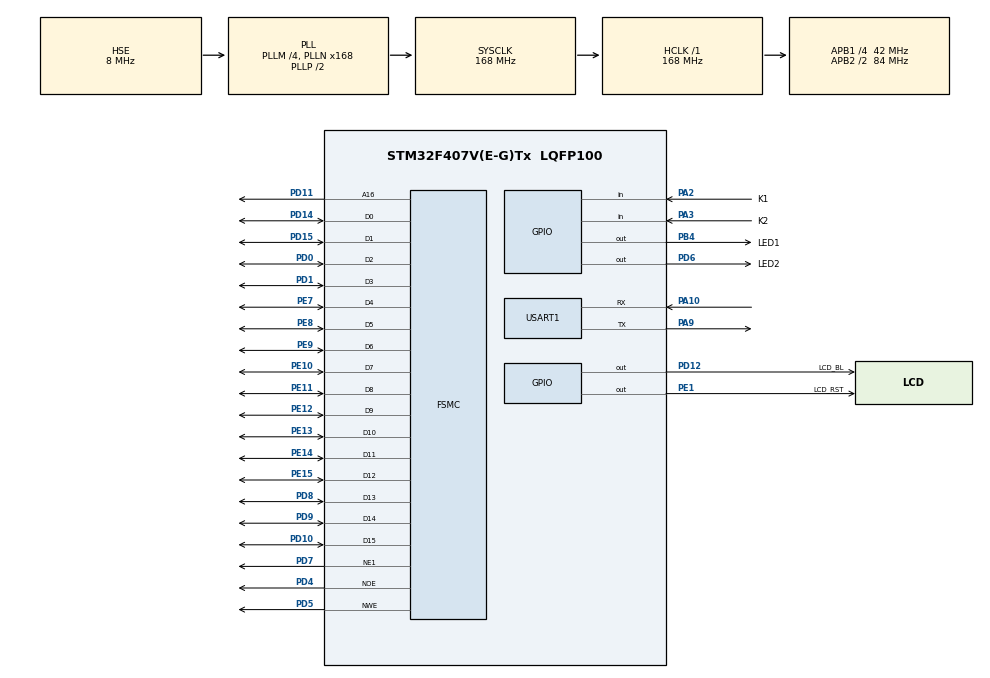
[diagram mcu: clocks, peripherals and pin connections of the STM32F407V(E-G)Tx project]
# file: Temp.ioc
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Mcu.Family=STM32F4
Mcu.Name=STM32F407V(E-G)Tx
Mcu.Package=LQFP100
NVIC.PriorityGroup=NVIC_PRIORITYGROUP_4
NVIC.TIM2_IRQn=true\:0\:0\:false\:false\:true\:true\:true\:true
NVIC.USART1_IRQn=true\:0\:0\:false\:false\:true\:true\:true\:true
PA10.Mode=Asynchronous
PA10.Signal=USART1_RX
PA13.Mode=Serial_Wire
PA13.Signal=SYS_JTMS-SWDIO
PA14.Mode=Serial_Wire
PA14.Signal=SYS_JTCK-SWCLK
PA2.GPIO_Label=K1
PA2.GPIO_Mode=GPIO_MODE_INPUT
PA2.Signal=GPIO_Input
PA3.GPIO_Label=K2
PA3.Signal=GPIO_Input
PA9.Mode=Asynchronous
PA9.Signal=USART1_TX
PB4.GPIO_Label=LED1
PB4.GPIO_ModeDefaultOutputPP=GPIO_MODE_OUTPUT_PP
PB4.GPIO_PuPd=GPIO_PULLUP
PB4.GPIO_Speed=GPIO_SPEED_FREQ_HIGH
PB4.PinState=GPIO_PIN_SET
PB4.Signal=GPIO_Output
PC14-OSC32_IN.Mode=LSE-External-Oscillator
PC14-OSC32_IN.Signal=RCC_OSC32_IN
PC15-OSC32_OUT.Mode=LSE-External-Oscillator
PC15-OSC32_OUT.Signal=RCC_OSC32_OUT
PD0.Mode=16b-d1
PD0.Signal=FSMC_D2
PD1.Mode=16b-d1
PD1.Signal=FSMC_D3
PD10.Mode=16b-d1
PD10.Signal=FSMC_D15
PD11.Mode=A16_1
PD11.Signal=FSMC_A16
PD12.GPIO_Label=LCD_BL
PD12.GPIO_PuPd=GPIO_PULLUP
PD12.GPIO_Speed=GPIO_SPEED_FREQ_HIGH
PD12.Signal=GPIO_Output
PD14.Mode=16b-d1
PD14.Signal=FSMC_D0
PD15.Mode=16b-d1
PD15.Signal=FSMC_D1
PD4.Mode=Lcd1
PD4.Signal=FSMC_NOE
PD5.Mode=Lcd1
PD5.Signal=FSMC_NWE
PD6.GPIO_Label=LED2
PD6.GPIO_ModeDefaultOutputPP=GPIO_MODE_OUTPUT_PP
PD6.GPIO_PuPd=GPIO_PULLUP
PD6.GPIO_Speed=GPIO_SPEED_FREQ_HIGH
PD6.PinState=GPIO_PIN_SET
PD6.Signal=GPIO_Output
PD7.Mode=NorPsramChipSelect1_1
PD7.Signal=FSMC_NE1
PD8.Mode=16b-d1
PD8.Signal=FSMC_D13
PD9.Mode=16b-d1
PD9.Signal=FSMC_D14
PE1.GPIO_Label=LCD_RST
PE1.GPIO_PuPd=GPIO_PULLUP
PE1.GPIO_Speed=GPIO_SPEED_FREQ_HIGH
PE1.PinState=GPIO_PIN_SET
PE1.Signal=GPIO_Output
PE10.Mode=16b-d1
PE10.Signal=FSMC_D7
PE11.Mode=16b-d1
PE11.Signal=FSMC_D8
PE12.Mode=16b-d1
PE12.Signal=FSMC_D9
PE13.Mode=16b-d1
PE13.Signal=FSMC_D10
PE14.Mode=16b-d1
PE14.Signal=FSMC_D11
PE15.Mode=16b-d1
PE15.Signal=FSMC_D12
PE7.Mode=16b-d1
PE7.Signal=FSMC_D4
PE8.Mode=16b-d1
PE8.Signal=FSMC_D5
PE9.Mode=16b-d1
PE9.Signal=FSMC_D6
PH0-OSC_IN.Mode=HSE-External-Oscillator
PH0-OSC_IN.Signal=RCC_OSC_IN
PH1-OSC_OUT.Mode=HSE-External-Oscillator
PH1-OSC_OUT.Signal=RCC_OSC_OUT
ProjectManager.HeapSize=0x2000
ProjectManager.StackSize=0x2000
ProjectManager.TargetToolchain=MDK-ARM V5.32
RCC.48MHZClocksFreq_Value=84000000
RCC.AHBFreq_Value=168000000
RCC.APB1CLKDivider=RCC_HCLK_DIV4
RCC.APB1Freq_Value=42000000
RCC.APB1TimFreq_Value=84000000
RCC.APB2CLKDivider=RCC_HCLK_DIV2
RCC.APB2Freq_Value=84000000
RCC.APB2TimFreq_Value=168000000
RCC.CortexFreq_Value=168000000
RCC.HCLKFreq_Value=168000000
RCC.HSE_VALUE=8000000
RCC.HSI_VALUE=16000000
RCC.PLLM=4
RCC.PLLN=168
RCC.PLLSourceVirtual=RCC_PLLSOURCE_HSE
RCC.RCC_MCO1Source=RCC_MCO1SOURCE_HSE
RCC.RCC_MCODiv2=RCC_MCODIV_5
RCC.SYSCLKFreq_VALUE=168000000
RCC.SYSCLKSource=RCC_SYSCLKSOURCE_PLLCLK
RCC.VCOOutputFreq_Value=336000000
TIM2.AutoReloadPreload=TIM_AUTORELOAD_PRELOAD_ENABLE
TIM2.Period=999
TIM2.Prescaler=83
USART1.VirtualMode=VM_ASYNC
VP_TIM2_VS_ClockSourceINT.Mode=Internal
board=custom

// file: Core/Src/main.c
/* USER CODE BEGIN Header */
/**
  ******************************************************************************
  * @file           : main.c
  * @brief          : Main program body
  ******************************************************************************
  * @attention
  *
  * Copyright (c) 2025 STMicroelectronics.
  * All rights reserved.
  *
  * This software is licensed under terms that can be found in the LICENSE file
  * in the root directory of this software component.
  * If no LICENSE file comes with this software, it is provided AS-IS.
  *
  ******************************************************************************
  */
/* USER CODE END Header */
#include "main.h"
#include "tim.h"
#include "usart.h"
#include "gpio.h"
#include "fsmc.h"

/* USER CODE BEGIN Includes */
#include "stdio.h"//printf函数�?
#include "bsp_lcd_driver.h"
#include "lvgl.h"
#include "lv_port_disp.h"
/* USER CODE END Includes */

/* USER CODE BEGIN PTD */
uint8_t rx_buff[100];  //接收缓存
uint8_t rx_done = 0; //接收完成标志
uint8_t rx_cnt = 0;//接收数据长度
/* USER CODE END PTD */

void SystemClock_Config(void);

int main(void)
{

  /* MCU Configuration--------------------------------------------------------*/

  /* Reset of all peripherals, Initializes the Flash interface and the Systick. */
  HAL_Init();

  /* Configure the system clock */
  SystemClock_Config();

  /* Initialize all configured peripherals */
  MX_GPIO_Init();
  MX_USART1_UART_Init();
  MX_FSMC_Init();
  MX_TIM2_Init();
  /* USER CODE BEGIN 2 */
	HAL_TIM_Base_Start_IT(&htim2);
	lv_init();
	lv_port_disp_init();
	//lv_port_indev_init();
  //lv_log_register_print_cb(my_print);

    // 创建测试UI
  lv_obj_t* label2 = lv_label_create(lv_scr_act());
  lv_label_set_long_mode(label2,LV_LABEL_LONG_SCROLL_CIRCULAR);/*circular scroll*/
  lv_obj_set_width(label2,120);

  lv_label_set_text(label2,"Hello LVGL 9.2.2 www.rymcu.com keil");
  lv_obj_align(label2,LV_ALIGN_CENTER,0,0);
  lv_obj_invalidate(label2);
  /* USER CODE END 2 */

  /* Infinite loop */
  while (1)
  {

    /* USER CODE BEGIN 3 */
		lv_timer_handler();
		HAL_Delay(5);
    HAL_GPIO_TogglePin(LED1_GPIO_Port,LED1_Pin);
		lv_tick_inc(1);
	}
  /* USER CODE END 3 */
}

void SystemClock_Config(void)
{
  RCC_OscInitTypeDef RCC_OscInitStruct = {0};
  RCC_ClkInitTypeDef RCC_ClkInitStruct = {0};

  /** Configure the main internal regulator output voltage
  */
  __HAL_RCC_PWR_CLK_ENABLE();
  __HAL_PWR_VOLTAGESCALING_CONFIG(PWR_REGULATOR_VOLTAGE_SCALE1);

  /** Initializes the RCC Oscillators according to the specified parameters
  * in the RCC_OscInitTypeDef structure.
  */
  RCC_OscInitStruct.OscillatorType = RCC_OSCILLATORTYPE_HSE;
  RCC_OscInitStruct.HSEState = RCC_HSE_ON;
  RCC_OscInitStruct.PLL.PLLState = RCC_PLL_ON;
  RCC_OscInitStruct.PLL.PLLSource = RCC_PLLSOURCE_HSE;
  RCC_OscInitStruct.PLL.PLLM = 4;
  RCC_OscInitStruct.PLL.PLLN = 168;
  RCC_OscInitStruct.PLL.PLLP = RCC_PLLP_DIV2;
  RCC_OscInitStruct.PLL.PLLQ = 4;
  if (HAL_RCC_OscConfig(&RCC_OscInitStruct) != HAL_OK)
  {
    Error_Handler();
  }

  /** Initializes the CPU, AHB and APB buses clocks
  */
  RCC_ClkInitStruct.ClockType = RCC_CLOCKTYPE_HCLK|RCC_CLOCKTYPE_SYSCLK
                              |RCC_CLOCKTYPE_PCLK1|RCC_CLOCKTYPE_PCLK2;
  RCC_ClkInitStruct.SYSCLKSource = RCC_SYSCLKSOURCE_PLLCLK;
  RCC_ClkInitStruct.AHBCLKDivider = RCC_SYSCLK_DIV1;
  RCC_ClkInitStruct.APB1CLKDivider = RCC_HCLK_DIV4;
  RCC_ClkInitStruct.APB2CLKDivider = RCC_HCLK_DIV2;

  if (HAL_RCC_ClockConfig(&RCC_ClkInitStruct, FLASH_LATENCY_5) != HAL_OK)
  {
    Error_Handler();
  }
}

/* USER CODE BEGIN 4 */
#ifdef __GNUC__
#define PUTCHAR_PROTOTYPE int __io_putchar(int ch)
#else
#define PUTCHAR_PROTOTYPE int fputc(int ch,FILE *f)
#endif /* __GNUC__ */
//重定向printf函数
PUTCHAR_PROTOTYPE
{
    HAL_UART_Transmit(&huart1,(uint8_t *)&ch,1,HAL_MAX_DELAY);//输出指向串口USART1
    return ch;
}
void HAL_TIM_PeriodElapsedCallback(TIM_HandleTypeDef *htim)
{
	HAL_GPIO_TogglePin(LED2_GPIO_Port,LED2_Pin);
	static uint16_t i = 0;
	if (htim->Instance == htim2.Instance)
	{
		i++;
		if(i == 500)
		{
			i=0;
			HAL_GPIO_TogglePin(LED1_GPIO_Port,LED1_Pin);
			printf("tim2 update\r\n");
		}
		lv_tick_inc(1);
	}
}
/* USER CODE END 4 */

void Error_Handler(void)
{
  __disable_irq();
  while (1)
  {
  }
}
